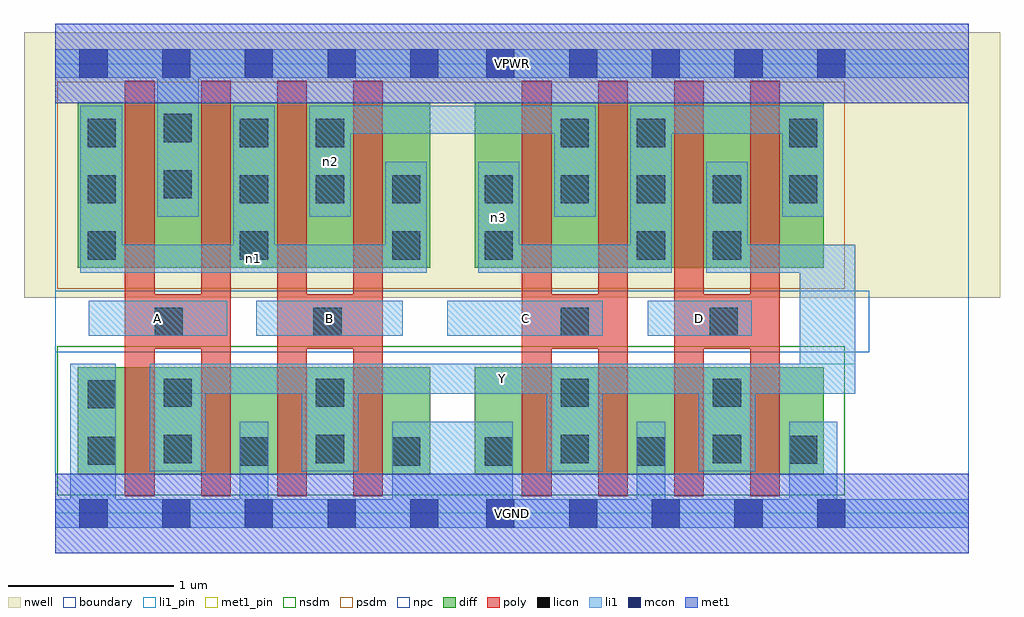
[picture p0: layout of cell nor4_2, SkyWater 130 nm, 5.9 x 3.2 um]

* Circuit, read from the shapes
.subckt nor4_2 A B C D VGND VPWR Y n1 n2 n3
XM1 Y A VGND VSUBS sky130_fd_pr__nfet_01v8 w=0.65 l=0.18 m=2
XM2 Y B VGND VSUBS sky130_fd_pr__nfet_01v8 w=0.65 l=0.18 m=2
XM3 Y C VGND VSUBS sky130_fd_pr__nfet_01v8 w=0.65 l=0.18 m=2
XM4 Y D VGND VSUBS sky130_fd_pr__nfet_01v8 w=0.65 l=0.18 m=2
XM5 VPWR A n1 n4 sky130_fd_pr__pfet_01v8 w=1 l=0.18 m=2
XM6 n2 B n1 n4 sky130_fd_pr__pfet_01v8 w=1 l=0.18 m=2
XM7 n2 C n3 n4 sky130_fd_pr__pfet_01v8 w=1 l=0.18 m=2
XM8 Y D n3 n4 sky130_fd_pr__pfet_01v8 w=1 l=0.18 m=2
.ends

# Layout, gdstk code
import gdstk
lib = gdstk.Library(unit=1e-6, precision=1e-09)
def R(c, l, rs):  # rectangles x0, y0, x1, y1
    for r in rs: c.add(gdstk.rectangle(r[:2], r[2:], *l))
def A(c, l, x, y, w, h, nx, ny, dx, dy):  # array of equal rectangles
    R(c, l, [(x+i*dx, y+j*dy, x+i*dx+w, y+j*dy+h) for i in range(nx) for j in range(ny)])
nwell = (64, 20)
diff = (65, 20)
poly = (66, 20)
licon = (66, 44)
li1_pin = (67, 16)
li1 = (67, 20)
mcon = (67, 44)
met1_pin = (68, 16)
met1 = (68, 20)
nsdm = (93, 44)
psdm = (94, 20)
npc = (95, 20)
boundary = (235, 4)

nor4_2 = lib.new_cell('nor4_2')
R(nor4_2, nwell, [(-0.19,1.305,5.71,2.91), (0,1.305,5.52,2.91)])
R(nor4_2, diff, [(0.135,0.235,2.265,0.885), (2.535,0.235,4.645,0.885), (0.135,1.485,2.265,2.485), (2.535,1.485,4.645,2.485)])
A(nor4_2, poly, 0.42, 0.105, 0.18, 2.51, 4, 1, 0.46, 0)
A(nor4_2, poly, 2.82, 0.105, 0.18, 2.51, 4, 1, 0.46, 0)
R(nor4_2, poly, [(0.42,0.995,1.06,1.325), (1.34,0.995,1.98,1.325), (2.82,0.995,3.46,1.325), (3.74,0.995,4.38,1.325)])
A(nor4_2, licon, 0.195, 1.535, 0.17, 0.17, 3, 1, 0.92, 0)
A(nor4_2, licon, 1.115, 1.875, 0.17, 0.17, 3, 1, 0.46, 0)
A(nor4_2, licon, 2.595, 1.875, 0.17, 0.17, 5, 1, 0.46, 0)
R(nor4_2, licon, [(1.115,0.29,1.285,0.46), (2.035,0.29,2.205,0.46), (2.595,0.29,2.765,0.46), (3.515,0.29,3.685,0.46), (0.195,0.295,0.365,0.465), (4.435,0.3,4.605,0.47), (0.655,0.305,0.825,0.475), (1.575,0.305,1.745,0.475), (3.055,0.305,3.225,0.475), (3.975,0.305,4.145,0.475), (0.195,0.635,0.365,0.805), (0.655,0.645,0.825,0.815), (1.575,0.645,1.745,0.815), (3.055,0.645,3.225,0.815), (3.975,0.645,4.145,0.815), (0.6,1.075,0.77,1.245), (1.56,1.075,1.73,1.245), (3.055,1.075,3.225,1.245), (3.955,1.075,4.125,1.245), (2.595,1.535,2.765,1.705), (3.515,1.535,3.685,1.705), (3.975,1.535,4.145,1.705), (0.195,1.875,0.365,2.045), (0.655,1.905,0.825,2.075), (0.195,2.215,0.365,2.385), (1.115,2.215,1.285,2.385), (1.575,2.215,1.745,2.385), (3.055,2.215,3.225,2.385), (3.515,2.215,3.685,2.385), (4.435,2.215,4.605,2.385), (0.655,2.245,0.825,2.415)])
R(nor4_2, li1_pin, [(0.57,0.725,4.835,0.905), (0.2,1.075,1.04,1.285), (1.215,1.075,2.1,1.285), (2.37,1.075,3.31,1.285), (3.58,1.075,4.21,1.285)])
R(nor4_2, li1, [(0,-0.085,5.52,0.085), (0.09,-0.085,0.365,0.905), (1.115,-0.085,1.285,0.555), (2.035,-0.085,2.765,0.555), (3.515,-0.085,3.685,0.555), (4.435,-0.085,4.725,0.555), (0.57,0.255,0.91,0.905), (1.49,0.255,1.83,0.905), (2.97,0.255,3.31,0.905), (3.89,0.255,4.23,0.905), (0.57,0.725,4.835,0.905), (4.5,0.725,4.835,1.625), (0.2,1.075,1.04,1.285), (1.215,1.075,2.1,1.285), (2.37,1.075,3.31,1.285), (3.58,1.075,4.21,1.285), (0.15,1.455,2.245,1.625), (0.15,1.455,0.405,2.465), (1.075,1.455,1.325,2.465), (1.995,1.455,2.245,2.125), (2.555,1.455,2.805,2.125), (2.555,1.455,3.725,1.625), (3.475,1.455,3.725,2.465), (3.935,1.455,4.185,2.125), (3.935,1.455,4.835,1.625), (0.615,1.795,0.865,2.805), (1.535,1.795,1.785,2.465), (3.015,1.795,3.265,2.465), (4.395,1.795,4.645,2.465), (1.535,2.295,3.265,2.465), (3.475,2.295,4.645,2.465), (0,2.635,5.52,2.805)])
A(nor4_2, mcon, 0.145, -0.085, 0.17, 0.17, 5, 2, 0.5, 2.72)
A(nor4_2, mcon, 2.605, -0.085, 0.17, 0.17, 5, 2, 0.5, 2.72)
R(nor4_2, met1_pin, [(0,-0.24,5.52,0.24), (0,2.48,5.52,2.96)])
R(nor4_2, met1, [(0,-0.24,5.52,0.24), (0,2.48,5.52,2.96)])
R(nor4_2, nsdm, [(0.01,0.11,4.77,1.01)])
R(nor4_2, psdm, [(0.01,1.36,4.77,2.61)])
R(nor4_2, npc, [(0,0.975,4.92,1.345)])
R(nor4_2, boundary, [(0,0,5.52,2.72)])
nor4_2.add(gdstk.Label('A', (0.62,1.18), layer=67, texttype=5))
nor4_2.add(gdstk.Label('B', (1.657,1.18), layer=67, texttype=5))
nor4_2.add(gdstk.Label('C', (2.84,1.18), layer=67, texttype=5))
nor4_2.add(gdstk.Label('D', (3.895,1.18), layer=67, texttype=5))
nor4_2.add(gdstk.Label('Y', (2.702,0.815), layer=67, texttype=5))
nor4_2.add(gdstk.Label('n1', (1.197,1.54), layer=67, texttype=5))
nor4_2.add(gdstk.Label('n2', (1.66,2.13), layer=67, texttype=5))
nor4_2.add(gdstk.Label('n3', (2.68,1.79), layer=67, texttype=5))
nor4_2.add(gdstk.Label('VPWR', (2.76,2.72), layer=68, texttype=5))
nor4_2.add(gdstk.Label('VGND', (2.76,0), layer=68, texttype=5))
nor4_2.add(gdstk.Label('A', (0.62,1.18), layer=67, texttype=16))
nor4_2.add(gdstk.Label('B', (1.657,1.18), layer=67, texttype=16))
nor4_2.add(gdstk.Label('C', (2.84,1.18), layer=67, texttype=16))
nor4_2.add(gdstk.Label('D', (3.895,1.18), layer=67, texttype=16))
nor4_2.add(gdstk.Label('Y', (2.702,0.815), layer=67, texttype=16))
nor4_2.add(gdstk.Label('VPWR', (2.76,2.72), layer=68, texttype=16))
nor4_2.add(gdstk.Label('VGND', (2.76,0), layer=68, texttype=16))

lib.write_gds('nor4_2.gds')
